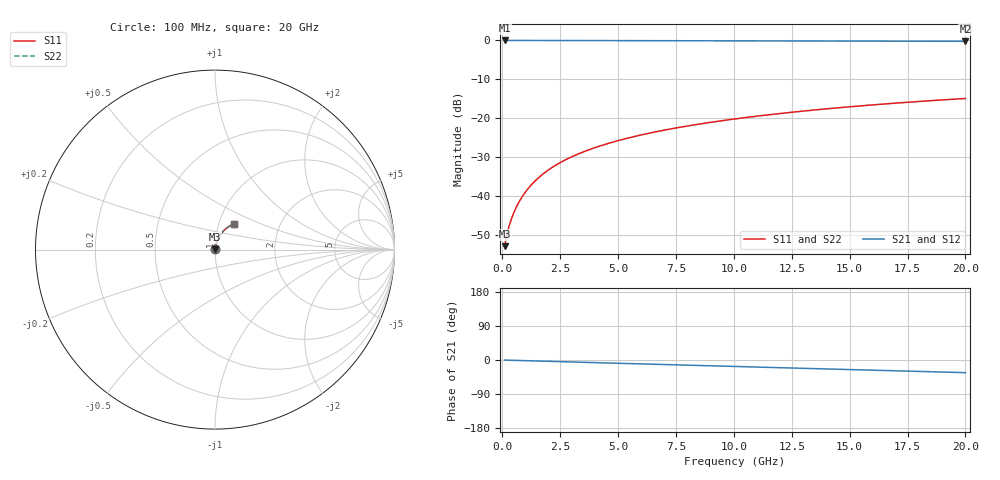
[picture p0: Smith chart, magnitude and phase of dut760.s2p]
! Touchstone file exported from HFSS 2026.1.0
!  File:  C:/ffzhzh/LocalFiles/Ansys_Project_Files/temp_train_BSMRDL_760_1783169001_18472.aedt
!  Generated:  08:44:38 PM Jul  4, 2026
!  Design:  BSMRDL
!  Project:  temp_train_BSMRDL_760_1783169001_18472
! Variables:
!  h_bsmrdl = 5.16um
!  h_ox = 20um
!  h_rdl = 5um
!  h_sub = 80um
!  h_tmrdl = 5um
!  h_tsv = 80um
!  h_via = 3um
!  l_bsmrdl = 554.59um
!  l_sub = 954.59um
!  l_tmrdl = 200um
!  m_sub = 200um
!  pitch = 36.52um
!  r_tsv = 6um
!  s_tmrdl = 10um
!  w_bsmrdl = 23.73um
!  w_sub = 500um
!  w_tmrdl = 12um
!  x_tsv_center1 = 206um
!  x_tsv_center2 = 784.32um
!  x_tsv_center3 = 996.32um
!  x_tsv_center4 = 1574.64um
!  x_tsv_center5 = 1786.64um
!  x_tsv_center6 = 2364.96um
# GHz S MA R 50.000000
! Terminal data exported
! Port[1] = BSM_RDL1_1_T1
! Port[2] = BSM_RDL1_1_T2
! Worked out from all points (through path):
!   200 points, 100 MHz to 20 GHz, reference 50 ohm
!   highest |S21| = -0.02 dB at 100 MHz (marker M1); lowest = -0.2 dB at 20 GHz (marker M2)
!   group delay of S21, straight-line fit = 4.63 ps
!   lowest |S11| = -52.9 dB at 100 MHz (marker M3), VSWR 1.00, Z = 50.2 + j0.133 ohm
!   |S11| at or under -10 dB: start of sweep to end of sweep
!   |S22| runs from -52.9 to -14.9 dB; largest |S21 - S12| = 2.1e-15
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0.1  0.00226 36.0  0.9982 -0.2  0.9982 -0.2  0.00226 36.0
! Gamma 0 0 0 0
! Port Impedance 50 0 50 0
0.2  0.003209 50.7  0.998 -0.4  0.998 -0.4  0.003209 50.7
0.3  0.004166 58.3  0.9978 -0.5  0.9978 -0.5  0.004166 58.3
0.4  0.00513 63.3  0.9977 -0.7  0.9977 -0.7  0.005129 63.3
0.5  0.006112 66.9  0.9977 -0.9  0.9977 -0.9  0.006112 66.9
0.6  0.007114 69.5  0.9976 -1.1  0.9976 -1.1  0.007114 69.5
0.8  0.009158 73.0  0.9975 -1.4  0.9975 -1.4  0.009158 73.0
1.1  0.01228 75.8  0.9973 -1.9  0.9973 -1.9  0.01228 75.8
1.3  0.01437 76.9  0.9972 -2.3  0.9972 -2.3  0.01437 76.9
1.6  0.01751 77.7  0.997 -2.8  0.997 -2.8  0.01751 77.7
2.1  0.0227 78.2  0.9965 -3.7  0.9965 -3.7  0.0227 78.2
2.7  0.02884 78.0  0.9959 -4.7  0.9959 -4.7  0.02884 78.0
3.5  0.03685 77.2  0.995 -6.1  0.995 -6.1  0.03685 77.2
4.2  0.04372 76.4  0.9942 -7.3  0.9942 -7.3  0.04372 76.4
5  0.05142 75.4  0.9933 -8.6  0.9933 -8.6  0.05142 75.4
5.9  0.05995 74.1  0.9922 -10.1  0.9922 -10.1  0.05995 74.1
6.8  0.06835 72.9  0.9912 -11.7  0.9912 -11.7  0.06835 72.9
8.3  0.08211 70.8  0.9894 -14.2  0.9894 -14.2  0.08211 70.8
10.1  0.09825 68.2  0.9871 -17.2  0.9871 -17.2  0.09825 68.2
13.4  0.1268 63.2  0.9827 -22.6  0.9827 -22.6  0.1268 63.3
16.7  0.1538 58.2  0.9779 -28.0  0.9779 -28.0  0.1538 58.3
20  0.1791 53.2  0.9729 -33.4  0.9729 -33.4  0.1791 53.2
